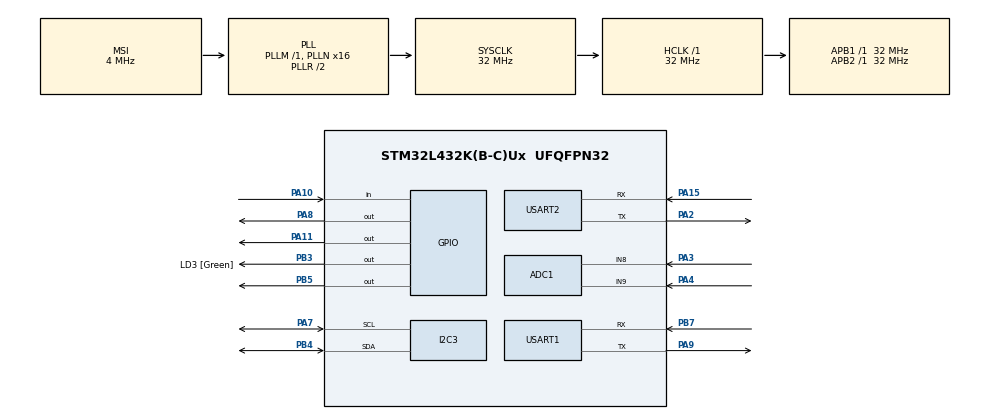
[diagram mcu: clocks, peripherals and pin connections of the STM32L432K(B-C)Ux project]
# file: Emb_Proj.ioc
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ADC1.Channel-1\#ChannelRegularConversion=ADC_CHANNEL_8
ADC1.NbrOfConversionFlag=1
ADC1.OffsetNumber-1\#ChannelRegularConversion=ADC_OFFSET_NONE
ADC1.Rank-1\#ChannelRegularConversion=1
ADC1.SamplingTime-1\#ChannelRegularConversion=ADC_SAMPLETIME_2CYCLES_5
ADC1.master=1
FREERTOS.BinarySemaphores01=myBinarySem01,Dynamic,NULL
FREERTOS.Tasks01=defaultTask,24,128,StartDefaultTask,Default,NULL,Dynamic,NULL,NULL;SensorsTask,8,128,StartTask02,Default,NULL,Dynamic,NULL,NULL;UartCommunicati,8,128,StartTask03,Default,NULL,Dynamic,NULL,NULL;Calculate,8,128,StartTask04,Default,NULL,Dynamic,NULL,NULL;Calculate2,8,128,StartTask05,Default,NULL,Dynamic,NULL,NULL;UartCom2,8,128,StartTask06,Default,NULL,Dynamic,NULL,NULL
I2C3.Timing=0x00707CBB
Mcu.Family=STM32L4
Mcu.Name=STM32L432K(B-C)Ux
Mcu.Package=UFQFPN32
NVIC.ADC1_IRQn=true\:5\:0\:false\:false\:true\:true\:true\:true
NVIC.I2C3_ER_IRQn=true\:5\:0\:false\:false\:true\:true\:true\:true
NVIC.I2C3_EV_IRQn=true\:5\:0\:false\:false\:true\:true\:true\:true
NVIC.PriorityGroup=NVIC_PRIORITYGROUP_4
NVIC.USART1_IRQn=true\:5\:0\:false\:false\:true\:true\:true\:true
NVIC.USART2_IRQn=true\:5\:0\:false\:false\:true\:true\:true\:true
PA0.GPIO_Label=MCO [High speed clock in]
PA0.Signal=RCC_CK_IN
PA10.Signal=GPIO_Input
PA11.PinState=GPIO_PIN_RESET
PA11.Signal=GPIO_Output
PA13\ (JTMS-SWDIO).GPIO_Label=SWDIO
PA13\ (JTMS-SWDIO).Mode=Serial_Wire
PA13\ (JTMS-SWDIO).Signal=SYS_JTMS-SWDIO
PA14\ (JTCK-SWCLK).GPIO_Label=SWCLK
PA14\ (JTCK-SWCLK).Mode=Serial_Wire
PA14\ (JTCK-SWCLK).Signal=SYS_JTCK-SWCLK
PA15\ (JTDI).Mode=Asynchronous
PA15\ (JTDI).Signal=USART2_RX
PA2.Mode=Asynchronous
PA2.Signal=USART2_TX
PA3.Signal=ADCx_IN8
PA4.Signal=ADCx_IN9
PA7.Mode=I2C
PA7.Signal=I2C3_SCL
PA8.Signal=GPIO_Output
PA9.Mode=Asynchronous
PA9.Signal=USART1_TX
PB3\ (JTDO-TRACESWO).GPIO_Label=LD3 [Green]
PB3\ (JTDO-TRACESWO).Signal=GPIO_Output
PB4\ (NJTRST).Mode=I2C
PB4\ (NJTRST).Signal=I2C3_SDA
PB5.Signal=GPIO_Output
PB7.Mode=Asynchronous
PB7.Signal=USART1_RX
PC14-OSC32_IN\ (PC14).Mode=LSE-External-Oscillator
PC14-OSC32_IN\ (PC14).Signal=RCC_OSC32_IN
PC15-OSC32_OUT\ (PC15).Mode=LSE-External-Oscillator
PC15-OSC32_OUT\ (PC15).Signal=RCC_OSC32_OUT
ProjectManager.HeapSize=0x200
ProjectManager.StackSize=0x400
ProjectManager.TargetToolchain=MDK-ARM V5
RCC.ADCFreq_Value=32000000
RCC.AHBFreq_Value=32000000
RCC.APB1Freq_Value=32000000
RCC.APB1TimFreq_Value=32000000
RCC.APB2Freq_Value=32000000
RCC.APB2TimFreq_Value=32000000
RCC.CortexFreq_Value=32000000
RCC.HCLKFreq_Value=32000000
RCC.HSE_VALUE=8000000
RCC.HSI16_VALUE=16000000
RCC.HSI48_VALUE=48000000
RCC.HSI_VALUE=16000000
RCC.MSI_VALUE=4000000
RCC.PLLMUL=RCC_PLLMUL_4
RCC.PLLN=16
RCC.PLLSAI1N=16
RCC.SYSCLKFreq_VALUE=32000000
RCC.SYSCLKSource=RCC_SYSCLKSOURCE_PLLCLK
RCC.USBFreq_Value=32000000
RCC.VCOOutputFreq_Value=64000000
SH.ADCx_IN8.0=ADC1_IN8,IN8-Single-Ended
SH.ADCx_IN9.0=ADC1_IN9,IN9-Single-Ended
USART1.VirtualMode-Asynchronous=VM_ASYNC
USART2.VirtualMode-Asynchronous=VM_ASYNC
VP_FREERTOS_VS_CMSIS_V2.Mode=CMSIS_V2
board=NUCLEO-L432KC

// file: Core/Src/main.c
/* USER CODE BEGIN Header */
/**
  ******************************************************************************
  * @file           : main.c
  * @brief          : Main program body
  ******************************************************************************
  * @attention
  *
  * <h2><center>&copy; Copyright (c) 2022 STMicroelectronics.
  * All rights reserved.</center></h2>
  *
  * This software component is licensed by ST under BSD 3-Clause license,
  * the "License"; You may not use this file except in compliance with the
  * License. You may obtain a copy of the License at:
  *                        opensource.org/licenses/BSD-3-Clause
  *
  ******************************************************************************
  */
/* USER CODE END Header */
#include "main.h"
#include "cmsis_os.h"

/* USER CODE BEGIN Includes */
#include <stdio.h>
#include "FreeRTOS.h"
#include "queue.h"
#include "task.h"
#include "semphr.h"
/* USER CODE END Includes */

/* USER CODE BEGIN PM */

extern float moisture_perc;
extern float moisture_perc2;
extern int adcflag;
/* USER CODE END PM */

ADC_HandleTypeDef hadc1;

I2C_HandleTypeDef hi2c3;

UART_HandleTypeDef huart1;
UART_HandleTypeDef huart2;

/* Definitions for defaultTask */
osThreadId_t defaultTaskHandle;
const osThreadAttr_t defaultTask_attributes = {
  .name = "defaultTask",
  .stack_size = 128 * 4,
  .priority = (osPriority_t) osPriorityNormal,
};
/* Definitions for SensorsTask */
osThreadId_t SensorsTaskHandle;
const osThreadAttr_t SensorsTask_attributes = {
  .name = "SensorsTask",
  .stack_size = 128 * 4,
  .priority = (osPriority_t) osPriorityLow,
};
/* Definitions for UartCommunicati */
osThreadId_t UartCommunicatiHandle;
const osThreadAttr_t UartCommunicati_attributes = {
  .name = "UartCommunicati",
  .stack_size = 128 * 4,
  .priority = (osPriority_t) osPriorityLow,
};
/* Definitions for Calculate */
osThreadId_t CalculateHandle;
const osThreadAttr_t Calculate_attributes = {
  .name = "Calculate",
  .stack_size = 128 * 4,
  .priority = (osPriority_t) osPriorityLow,
};
/* Definitions for Calculate2 */
osThreadId_t Calculate2Handle;
const osThreadAttr_t Calculate2_attributes = {
  .name = "Calculate2",
  .stack_size = 128 * 4,
  .priority = (osPriority_t) osPriorityLow,
};
/* Definitions for UartCom2 */
osThreadId_t UartCom2Handle;
const osThreadAttr_t UartCom2_attributes = {
  .name = "UartCom2",
  .stack_size = 128 * 4,
  .priority = (osPriority_t) osPriorityLow,
};
/* Definitions for myBinarySem01 */
osSemaphoreId_t myBinarySem01Handle;
const osSemaphoreAttr_t myBinarySem01_attributes = {
  .name = "myBinarySem01"
};
/* USER CODE BEGIN PV */

uint8_t ctlbuf[2],statbuf[2], tempupsend[1],tempdownsend[1], tempuprec[1],tempdownrec[1];
uint8_t tempvalue;
float tempfr, tempfinal;
uint8_t humidity,temp1;
uint8_t uartBuf [100], uartBuf1 [100] = {0};
char uartBuf2[100] = {0}, uartBuf3[100] = {0}, uartBuf4[100] = {0};
float moistureLimit =60.0;
float moistureLimit2 =60.0;
uint8_t data[2] = {0};

/* USER CODE END PV */

void SystemClock_Config(void);
static void MX_GPIO_Init(void);
static void MX_USART2_UART_Init(void);
static void MX_ADC1_Init(void);
static void MX_I2C3_Init(void);
static void MX_USART1_UART_Init(void);
void StartDefaultTask(void *argument);
void StartTask02(void *argument);
void StartTask03(void *argument);
void StartTask04(void *argument);
void StartTask05(void *argument);
void StartTask06(void *argument);

int main(void)
{

  /* MCU Configuration--------------------------------------------------------*/

  /* Reset of all peripherals, Initializes the Flash interface and the Systick. */
  HAL_Init();

  /* Configure the system clock */
  SystemClock_Config();

  /* Initialize all configured peripherals */
  MX_GPIO_Init();
  MX_USART2_UART_Init();
  MX_ADC1_Init();
  MX_I2C3_Init();
  MX_USART1_UART_Init();
  /* USER CODE BEGIN 2 */
  __HAL_UART_ENABLE_IT(&huart1,UART_IT_RXNE);
  ctlbuf[0] = 0x0E;
	ctlbuf[1] = 0x3C;

  HAL_I2C_Master_Transmit(&hi2c3, 0xD0, ctlbuf, 2, 10);

	statbuf[0] = 0x0F;
	statbuf[1] = 0x88;

	HAL_I2C_Master_Transmit(&hi2c3, 0xD0, statbuf, 2, 10);
	// send to tempupper upperbyte register /*Integer Part*/
  tempupsend[0] = 0x11; // address of the register // reference page: DS page 15
  HAL_I2C_Master_Transmit(&hi2c3, 0xD0, tempupsend, 2, 10);
  // send to tempupper lowerbyte register /*Fractional Part*/
  tempdownsend[0] = 0x12; // address of the register // reference page: DS page 15
  HAL_I2C_Master_Transmit(&hi2c3, 0xD0, tempdownsend, 2, 10);
  /* USER CODE END 2 */

  /* Init scheduler */
  osKernelInitialize();

  /* Create the semaphores(s) */
  /* creation of myBinarySem01 */
  myBinarySem01Handle = osSemaphoreNew(1, 1, &myBinarySem01_attributes);

  /* Create the thread(s) */
  /* creation of defaultTask */
  defaultTaskHandle = osThreadNew(StartDefaultTask, NULL, &defaultTask_attributes);

  /* creation of SensorsTask */
  SensorsTaskHandle = osThreadNew(StartTask02, NULL, &SensorsTask_attributes);

  /* creation of UartCommunicati */
  UartCommunicatiHandle = osThreadNew(StartTask03, NULL, &UartCommunicati_attributes);

  /* creation of Calculate */
  CalculateHandle = osThreadNew(StartTask04, NULL, &Calculate_attributes);

  /* creation of Calculate2 */
  Calculate2Handle = osThreadNew(StartTask05, NULL, &Calculate2_attributes);

  /* creation of UartCom2 */
  UartCom2Handle = osThreadNew(StartTask06, NULL, &UartCom2_attributes);

  /* Start scheduler */
  osKernelStart();

  /* We should never get here as control is now taken by the scheduler */
  /* Infinite loop */
  while (1)
  {

  }
}

void SystemClock_Config(void)
{
  RCC_OscInitTypeDef RCC_OscInitStruct = {0};
  RCC_ClkInitTypeDef RCC_ClkInitStruct = {0};

  /** Configure the main internal regulator output voltage
  */
  if (HAL_PWREx_ControlVoltageScaling(PWR_REGULATOR_VOLTAGE_SCALE1) != HAL_OK)
  {
    Error_Handler();
  }
  /** Configure LSE Drive Capability
  */
  HAL_PWR_EnableBkUpAccess();
  __HAL_RCC_LSEDRIVE_CONFIG(RCC_LSEDRIVE_LOW);
  /** Initializes the RCC Oscillators according to the specified parameters
  * in the RCC_OscInitTypeDef structure.
  */
  RCC_OscInitStruct.OscillatorType = RCC_OSCILLATORTYPE_LSE|RCC_OSCILLATORTYPE_MSI;
  RCC_OscInitStruct.LSEState = RCC_LSE_ON;
  RCC_OscInitStruct.MSIState = RCC_MSI_ON;
  RCC_OscInitStruct.MSICalibrationValue = 0;
  RCC_OscInitStruct.MSIClockRange = RCC_MSIRANGE_6;
  RCC_OscInitStruct.PLL.PLLState = RCC_PLL_ON;
  RCC_OscInitStruct.PLL.PLLSource = RCC_PLLSOURCE_MSI;
  RCC_OscInitStruct.PLL.PLLM = 1;
  RCC_OscInitStruct.PLL.PLLN = 16;
  RCC_OscInitStruct.PLL.PLLP = RCC_PLLP_DIV7;
  RCC_OscInitStruct.PLL.PLLQ = RCC_PLLQ_DIV2;
  RCC_OscInitStruct.PLL.PLLR = RCC_PLLR_DIV2;
  if (HAL_RCC_OscConfig(&RCC_OscInitStruct) != HAL_OK)
  {
    Error_Handler();
  }
  /** Initializes the CPU, AHB and APB buses clocks
  */
  RCC_ClkInitStruct.ClockType = RCC_CLOCKTYPE_HCLK|RCC_CLOCKTYPE_SYSCLK
                              |RCC_CLOCKTYPE_PCLK1|RCC_CLOCKTYPE_PCLK2;
  RCC_ClkInitStruct.SYSCLKSource = RCC_SYSCLKSOURCE_PLLCLK;
  RCC_ClkInitStruct.AHBCLKDivider = RCC_SYSCLK_DIV1;
  RCC_ClkInitStruct.APB1CLKDivider = RCC_HCLK_DIV1;
  RCC_ClkInitStruct.APB2CLKDivider = RCC_HCLK_DIV1;

  if (HAL_RCC_ClockConfig(&RCC_ClkInitStruct, FLASH_LATENCY_1) != HAL_OK)
  {
    Error_Handler();
  }
  /** Enable MSI Auto calibration
  */
  HAL_RCCEx_EnableMSIPLLMode();
}

static void MX_ADC1_Init(void)
{

  ADC_ChannelConfTypeDef sConfig = {0};

  /** Common config
  */
  hadc1.Instance = ADC1;
  hadc1.Init.ClockPrescaler = ADC_CLOCK_ASYNC_DIV1;
  hadc1.Init.Resolution = ADC_RESOLUTION_12B;
  hadc1.Init.DataAlign = ADC_DATAALIGN_RIGHT;
  hadc1.Init.ScanConvMode = ADC_SCAN_DISABLE;
  hadc1.Init.EOCSelection = ADC_EOC_SINGLE_CONV;
  hadc1.Init.LowPowerAutoWait = DISABLE;
  hadc1.Init.ContinuousConvMode = DISABLE;
  hadc1.Init.NbrOfConversion = 1;
  hadc1.Init.DiscontinuousConvMode = DISABLE;
  hadc1.Init.ExternalTrigConv = ADC_SOFTWARE_START;
  hadc1.Init.ExternalTrigConvEdge = ADC_EXTERNALTRIGCONVEDGE_NONE;
  hadc1.Init.DMAContinuousRequests = DISABLE;
  hadc1.Init.Overrun = ADC_OVR_DATA_PRESERVED;
  hadc1.Init.OversamplingMode = DISABLE;
  if (HAL_ADC_Init(&hadc1) != HAL_OK)
  {
    Error_Handler();
  }
  /** Configure Regular Channel
  */
  sConfig.Channel = ADC_CHANNEL_8;
  sConfig.Rank = ADC_REGULAR_RANK_1;
  sConfig.SamplingTime = ADC_SAMPLETIME_2CYCLES_5;
  sConfig.SingleDiff = ADC_SINGLE_ENDED;
  sConfig.OffsetNumber = ADC_OFFSET_NONE;
  sConfig.Offset = 0;
  if (HAL_ADC_ConfigChannel(&hadc1, &sConfig) != HAL_OK)
  {
    Error_Handler();
  }

}

static void MX_I2C3_Init(void)
{

  hi2c3.Instance = I2C3;
  hi2c3.Init.Timing = 0x00707CBB;
  hi2c3.Init.OwnAddress1 = 0;
  hi2c3.Init.AddressingMode = I2C_ADDRESSINGMODE_7BIT;
  hi2c3.Init.DualAddressMode = I2C_DUALADDRESS_DISABLE;
  hi2c3.Init.OwnAddress2 = 0;
  hi2c3.Init.OwnAddress2Masks = I2C_OA2_NOMASK;
  hi2c3.Init.GeneralCallMode = I2C_GENERALCALL_DISABLE;
  hi2c3.Init.NoStretchMode = I2C_NOSTRETCH_DISABLE;
  if (HAL_I2C_Init(&hi2c3) != HAL_OK)
  {
    Error_Handler();
  }
  /** Configure Analogue filter
  */
  if (HAL_I2CEx_ConfigAnalogFilter(&hi2c3, I2C_ANALOGFILTER_ENABLE) != HAL_OK)
  {
    Error_Handler();
  }
  /** Configure Digital filter
  */
  if (HAL_I2CEx_ConfigDigitalFilter(&hi2c3, 0) != HAL_OK)
  {
    Error_Handler();
  }

}

static void MX_USART1_UART_Init(void)
{

  huart1.Instance = USART1;
  huart1.Init.BaudRate = 9600;
  huart1.Init.WordLength = UART_WORDLENGTH_8B;
  huart1.Init.StopBits = UART_STOPBITS_1;
  huart1.Init.Parity = UART_PARITY_NONE;
  huart1.Init.Mode = UART_MODE_TX_RX;
  huart1.Init.HwFlowCtl = UART_HWCONTROL_NONE;
  huart1.Init.OverSampling = UART_OVERSAMPLING_16;
  huart1.Init.OneBitSampling = UART_ONE_BIT_SAMPLE_DISABLE;
  huart1.AdvancedInit.AdvFeatureInit = UART_ADVFEATURE_NO_INIT;
  if (HAL_UART_Init(&huart1) != HAL_OK)
  {
    Error_Handler();
  }

}

static void MX_USART2_UART_Init(void)
{

  huart2.Instance = USART2;
  huart2.Init.BaudRate = 9600;
  huart2.Init.WordLength = UART_WORDLENGTH_8B;
  huart2.Init.StopBits = UART_STOPBITS_1;
  huart2.Init.Parity = UART_PARITY_NONE;
  huart2.Init.Mode = UART_MODE_TX_RX;
  huart2.Init.HwFlowCtl = UART_HWCONTROL_NONE;
  huart2.Init.OverSampling = UART_OVERSAMPLING_16;
  huart2.Init.OneBitSampling = UART_ONE_BIT_SAMPLE_DISABLE;
  huart2.AdvancedInit.AdvFeatureInit = UART_ADVFEATURE_NO_INIT;
  if (HAL_UART_Init(&huart2) != HAL_OK)
  {
    Error_Handler();
  }

}

static void MX_GPIO_Init(void)
{
  GPIO_InitTypeDef GPIO_InitStruct = {0};

  /* GPIO Ports Clock Enable */
  __HAL_RCC_GPIOC_CLK_ENABLE();
  __HAL_RCC_GPIOA_CLK_ENABLE();
  __HAL_RCC_GPIOB_CLK_ENABLE();

  /*Configure GPIO pin Output Level */
  HAL_GPIO_WritePin(GPIOA, GPIO_PIN_8|GPIO_PIN_11, GPIO_PIN_RESET);

  /*Configure GPIO pin Output Level */
  HAL_GPIO_WritePin(GPIOB, LD3_Pin|GPIO_PIN_5, GPIO_PIN_RESET);

  /*Configure GPIO pins : PA8 PA11 */
  GPIO_InitStruct.Pin = GPIO_PIN_8|GPIO_PIN_11;
  GPIO_InitStruct.Mode = GPIO_MODE_OUTPUT_PP;
  GPIO_InitStruct.Pull = GPIO_NOPULL;
  GPIO_InitStruct.Speed = GPIO_SPEED_FREQ_LOW;
  HAL_GPIO_Init(GPIOA, &GPIO_InitStruct);

  /*Configure GPIO pin : PA10 */
  GPIO_InitStruct.Pin = GPIO_PIN_10;
  GPIO_InitStruct.Mode = GPIO_MODE_INPUT;
  GPIO_InitStruct.Pull = GPIO_NOPULL;
  HAL_GPIO_Init(GPIOA, &GPIO_InitStruct);

  /*Configure GPIO pins : LD3_Pin PB5 */
  GPIO_InitStruct.Pin = LD3_Pin|GPIO_PIN_5;
  GPIO_InitStruct.Mode = GPIO_MODE_OUTPUT_PP;
  GPIO_InitStruct.Pull = GPIO_NOPULL;
  GPIO_InitStruct.Speed = GPIO_SPEED_FREQ_LOW;
  HAL_GPIO_Init(GPIOB, &GPIO_InitStruct);

}

void StartDefaultTask(void *argument)
{
  /* USER CODE BEGIN 5 */
  /* Infinite loop */
		moistureLimit =60.0;
		moistureLimit2 =60.0;
  for(;;)
  {

		int moistureLimitSeason =moistureLimit;
		int	moistureLimitSeason2 = moistureLimit2;
			if (tempfinal>23){
				moistureLimitSeason  +=10;
				moistureLimitSeason2 +=10;
			}

			if(moisture_perc<= moistureLimitSeason){
				HAL_GPIO_WritePin(GPIOB, GPIO_PIN_5, 1);
			}else{
				HAL_GPIO_WritePin(GPIOB, GPIO_PIN_5, 0);
			}
			if(moisture_perc2<= moistureLimitSeason2){
				HAL_GPIO_WritePin(GPIOA, GPIO_PIN_11, 1);
			}else{
				HAL_GPIO_WritePin(GPIOA, GPIO_PIN_11, 0);
			}

    osDelay(1);

  }
  /* USER CODE END 5 */
}

void StartTask02(void *argument)
{
  /* USER CODE BEGIN StartTask02 */
  /* Infinite loop */
	adcflag=1;
  for(;;)
  {
		//send tempupper byte register address 11h to read from
		HAL_I2C_Master_Transmit(&hi2c3, 0xD0, tempupsend, 1, 10);
		//read data of register 11h to tempUpperByte[1]
		HAL_I2C_Master_Receive(&hi2c3, 0xD1, tempuprec, 1, 10);
		tempvalue = tempuprec[0];

		//send tempupper byte register address 11h to read from
		HAL_I2C_Master_Transmit(&hi2c3, 0xD0, tempdownsend, 1, 10);
		//read data of register 11h to tempUpperByte[1]
		/* Shift left by 6 since in the templowerbyte register, we are interested
		* in the least 2 significant bits as the fractional part
		* hence shift right by 6
		*/
		HAL_I2C_Master_Receive(&hi2c3, 0xD1, tempdownrec, 1, 10);
		tempfr = (tempdownrec[0] >> 6)*0.25; // 0.25 resolution

		tempfinal = tempvalue + tempfr;
		sprintf((char *)uartBuf, "Temperature: %f \r\n", tempfinal);

		//prepare UART output
		HAL_Delay(1000);
		HAL_ADC_Start_IT(&hadc1);

		HAL_Delay(50);

		sprintf(uartBuf3,"<%d %d %d>",(int)moisture_perc,(int)moisture_perc2, (int)tempfinal);

  }
  /* USER CODE END StartTask02 */
}

void StartTask03(void *argument)
{
  /* USER CODE BEGIN StartTask03 */
  /* Infinite loop */
  for(;;)
  {

			HAL_UART_Transmit(&huart1,(uint8_t *) uartBuf3,10, HAL_MAX_DELAY);
			// HAL_UART_Transmit(&huart1,(uint8_t *) uartBuf4,40, HAL_MAX_DELAY);
			for (int i = 0 ; i<10 ; i++){
				HAL_Delay(5);
			}

}
  /* USER CODE END StartTask03 */
}

void StartTask04(void *argument)
{
  /* USER CODE BEGIN StartTask04 */
  /* Infinite loop */

  for(;;)
  {

		if(xSemaphoreTake(myBinarySem01Handle,  999999)) {

				//recieve
				HAL_UART_Receive(&huart1, data, sizeof(data), HAL_MAX_DELAY);
				//enable UART recieve
				__HAL_UART_ENABLE_IT(&huart1, UART_IT_RXNE);

				if (data[0]=='1'){
					moistureLimit= (data[1]-48)*10;

				}else{
					moistureLimit2= (data[1]-48)*10;
				}

		}
  }
  /* USER CODE END StartTask04 */
}

void StartTask05(void *argument)
{
  for(;;)
  {
    osDelay(1);
  }
}

void StartTask06(void *argument)
{
  for(;;)
  {
    osDelay(1);
  }
}

void Error_Handler(void)
{
  __disable_irq();
  while (1)
  {
  }
}

/************************ (C) COPYRIGHT STMicroelectronics *****END OF FILE****/
